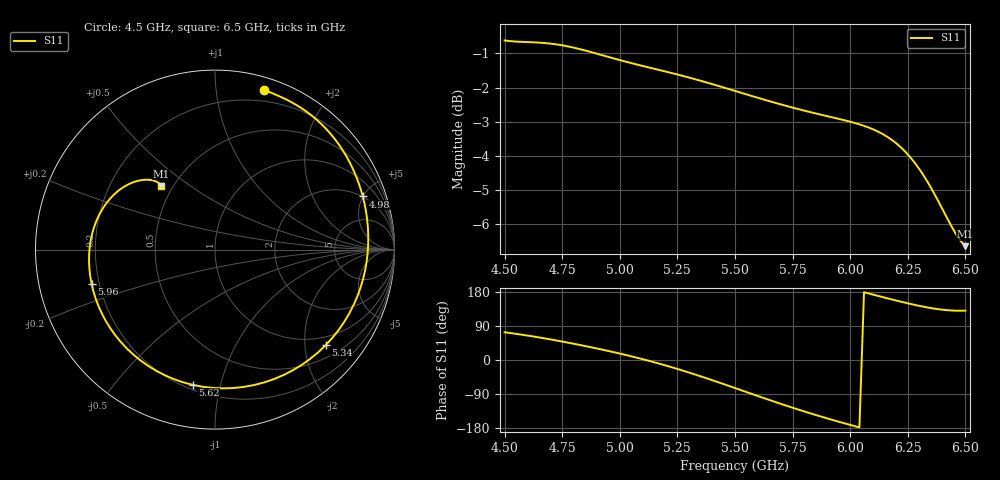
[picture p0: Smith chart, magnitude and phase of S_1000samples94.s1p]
! TOUCHSTONE file generated by CST MICROWAVE STUDIO
! Date and time: Wed Oct 26 23:40:56 2022
! Project name: L.cst
! Parameters = {Di=1.27; Epsilon_r=1.56; InnerDiameter=1.27; Length=2; Lf=10; Lg=60; OuterConductorThickness=0.2921; OuterDiameter=3.6; Wf=3; Wp=41.2; de=1.5; df=6.8; g=0.8; gx=3.25756; gy=0.843206; h=2.34; hf=1.524; px=9.62974; py=10.3549; w=9.7; wx=6.37219; wy=9.51165}
! Header version: 2018
! Port assignment regex: !\s*Touchstone port\s*([0-9]+)\s*=\s*(CST MWS port|CST DS port)\s*([0-9]+|Zmin|Zmax)\s*\(\"(.*)\"\)(\s*mode\s*([0-9]+))?.*
! Touchstone port assignment:
! Touchstone port 1 = CST MWS port 1 ("")
# GHz S DB R 50
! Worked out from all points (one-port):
!   101 points, 4.5 GHz to 6.5 GHz, reference 50 ohm
!   lowest |S11| = -6.6 dB at 6.5 GHz (marker M1), VSWR 2.74, Z = 21.5 + j19.5 ohm
!   |S11| at or under -10 dB: nowhere
!   S11 on the Smith chart (normalised r, x): 4.5 GHz: 0.10, +1.34; 4.98 GHz: 1.97, +4.98; 5.34 GHz: 0.78, -2.47; 5.62 GHz: 0.23, -0.82; 5.96 GHz: 0.17, -0.13; 6.5 GHz: 0.43, +0.39
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4.5  -0.62 73.1
4.64  -0.68 60.5
4.76  -0.78 47.5
4.88  -0.97 33.0
4.98  -1.16 19.8
5  -1.20 17.0
5.08  -1.34 5.2
5.14  -1.44 -4.4
5.2  -1.53 -14.6
5.26  -1.64 -25.5
5.34  -1.78 -40.9
5.42  -1.94 -57.2
5.5  -2.10 -74.0
5.56  -2.22 -86.7
5.62  -2.34 -99.4
5.68  -2.46 -111.8
5.76  -2.60 -127.9
5.86  -2.77 -146.8
5.96  -2.93 -164.5
6  -3.00 -171.2
6.06  -3.12 178.9
6.12  -3.29 169.3
6.2  -3.63 156.9
6.26  -4.03 148.2
6.32  -4.59 140.4
6.36  -5.04 136.1
6.44  -6.06 130.6
6.5  -6.64 130.3
